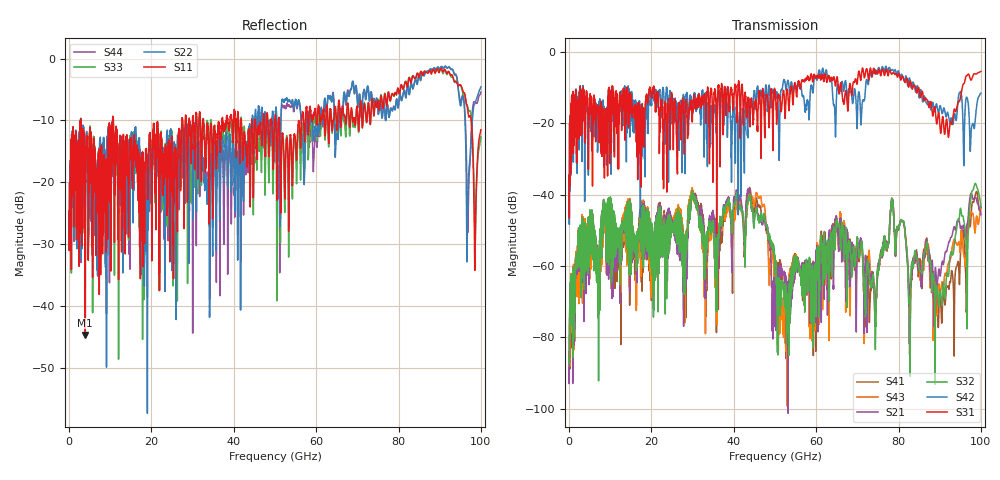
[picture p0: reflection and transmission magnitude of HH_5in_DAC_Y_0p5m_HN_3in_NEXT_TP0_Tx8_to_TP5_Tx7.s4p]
# GHz S RI R 45
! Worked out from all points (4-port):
!   4000 points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, 25 MHz to 100 GHz, reference 45 ohm
!   strongest paths, dB at 25 MHz, 25.02 GHz, 50.02 GHz, 75.03 GHz, 100 GHz:
!     S31: -34.9, -12.2, -10.7, -5.9, -5.4
!     S42: -34.9, -18.5, -12.5, -4.7, -11.5
!     S32: -87.4, -49.3, -57.8, -62.3, -43.4
!     S21: -88.6, -49.0, -65.9, -60.7, -45.6
!     S43: -85.6, -47.0, -63.3, -60.8, -43.5
!     S41: -87.0, -47.0, -60.5, -62.2, -43.4
!   lowest |S11| = -44.7 dB at 3.95 GHz (marker M1), VSWR 1.01, Z = 45.5 - j0.159 ohm
!   |S11| at or under -10 dB: 2.855 GHz to 10.57 GHz (7.72 GHz wide, 115 % of centre); 10.78 GHz to 27.4 GHz (16.63 GHz wide, 87.1 % of centre); 51 GHz to 56.5 GHz (5.502 GHz wide, 10.2 % of centre)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
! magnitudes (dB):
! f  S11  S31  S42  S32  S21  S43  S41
! 25 MHz  -24.7  -34.9  -34.9  -87.4  -88.6  -85.6  -87.0
! 3.95 GHz  -44.7  -23.9  -20.9  -54.0  -56.6  -54.0  -56.4
! 45.85 GHz  -11.9  -17.6  -10.4  -46.5  -46.1  -40.5  -42.7
! 52.27 GHz  -18.3  -12.9  -7.9  -69.5  -61.9  -80.1  -67.2
! 78.42 GHz  -5.7  -6.1  -4.9  -41.7  -41.8  -41.8  -41.7
! 90.08 GHz  -1.8  -21.1  -15.0  -66.6  -62.7  -68.0  -67.9
! 100 GHz  -11.5  -5.4  -11.5  -43.4  -45.6  -43.5  -43.4
